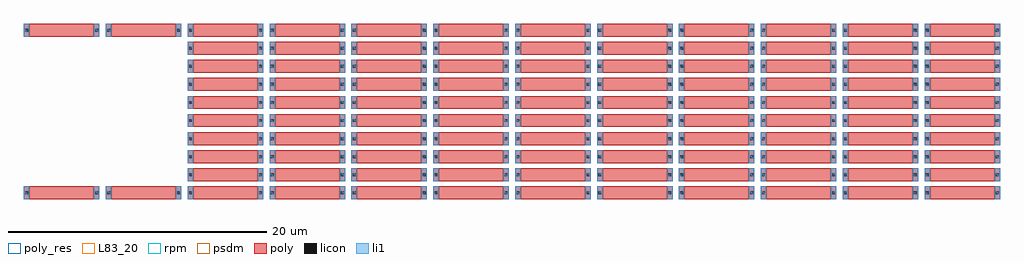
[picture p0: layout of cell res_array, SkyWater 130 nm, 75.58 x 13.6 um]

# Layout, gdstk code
import gdstk
lib = gdstk.Library(unit=1e-6, precision=1e-09)
def R(c, l, rs):  # rectangles x0, y0, x1, y1
    for r in rs: c.add(gdstk.rectangle(r[:2], r[2:], *l))
def A(c, l, x, y, w, h, nx, ny, dx, dy):  # array of equal rectangles
    R(c, l, [(x+i*dx, y+j*dy, x+i*dx+w, y+j*dy+h) for i in range(nx) for j in range(ny)])
poly_res = (66, 13)
poly = (66, 20)
licon = (66, 44)
li1 = (67, 20)
L83_20 = (83, 20)
rpm = (86, 20)
psdm = (94, 20)

res_array = lib.new_cell('res_array')
A(res_array, poly_res, -12.26, 0, 5, 1, 12, 2, 6.34, 12.6)
A(res_array, poly_res, 0.42, 1.4, 5, 1, 10, 8, 6.34, 1.4)
A(res_array, poly, -12.68, 0, 5.84, 1, 12, 2, 6.34, 12.6)
A(res_array, poly, 0, 1.4, 5.84, 1, 10, 8, 6.34, 1.4)
A(res_array, licon, 0.1, 0.39, 0.22, 0.22, 1, 10, 0, 1.4)
A(res_array, licon, 5.52, 0.39, 0.22, 0.22, 1, 10, 0, 1.4)
A(res_array, licon, 6.44, 0.39, 0.22, 0.22, 1, 10, 0, 1.4)
A(res_array, licon, 11.86, 0.39, 0.22, 0.22, 1, 10, 0, 1.4)
A(res_array, licon, 12.78, 0.39, 0.22, 0.22, 1, 10, 0, 1.4)
A(res_array, licon, 18.2, 0.39, 0.22, 0.22, 1, 10, 0, 1.4)
A(res_array, licon, 19.12, 0.39, 0.22, 0.22, 1, 10, 0, 1.4)
A(res_array, licon, 24.54, 0.39, 0.22, 0.22, 1, 10, 0, 1.4)
A(res_array, licon, 25.46, 0.39, 0.22, 0.22, 1, 10, 0, 1.4)
A(res_array, licon, 30.88, 0.39, 0.22, 0.22, 1, 10, 0, 1.4)
A(res_array, licon, 31.8, 0.39, 0.22, 0.22, 1, 10, 0, 1.4)
A(res_array, licon, 37.22, 0.39, 0.22, 0.22, 1, 10, 0, 1.4)
A(res_array, licon, 38.14, 0.39, 0.22, 0.22, 1, 10, 0, 1.4)
A(res_array, licon, 43.56, 0.39, 0.22, 0.22, 1, 10, 0, 1.4)
A(res_array, licon, 44.48, 0.39, 0.22, 0.22, 1, 10, 0, 1.4)
A(res_array, licon, 49.9, 0.39, 0.22, 0.22, 1, 10, 0, 1.4)
A(res_array, licon, 50.82, 0.39, 0.22, 0.22, 1, 10, 0, 1.4)
A(res_array, licon, 56.24, 0.39, 0.22, 0.22, 1, 10, 0, 1.4)
A(res_array, licon, 57.16, 0.39, 0.22, 0.22, 1, 10, 0, 1.4)
A(res_array, licon, 62.58, 0.39, 0.22, 0.22, 1, 10, 0, 1.4)
R(res_array, licon, [(-12.58,0.39,-12.36,0.61), (-7.16,0.39,-6.94,0.61), (-6.24,0.39,-6.02,0.61), (-0.82,0.39,-0.6,0.61), (-12.58,12.99,-12.36,13.21), (-7.16,12.99,-6.94,13.21), (-6.24,12.99,-6.02,13.21), (-0.82,12.99,-0.6,13.21)])
A(res_array, li1, 0, 0, 0.42, 1, 1, 10, 0, 1.4)
A(res_array, li1, 5.42, 0, 0.42, 1, 1, 10, 0, 1.4)
A(res_array, li1, 6.34, 0, 0.42, 1, 1, 10, 0, 1.4)
A(res_array, li1, 11.76, 0, 0.42, 1, 1, 10, 0, 1.4)
A(res_array, li1, 12.68, 0, 0.42, 1, 1, 10, 0, 1.4)
A(res_array, li1, 18.1, 0, 0.42, 1, 1, 10, 0, 1.4)
A(res_array, li1, 19.02, 0, 0.42, 1, 1, 10, 0, 1.4)
A(res_array, li1, 24.44, 0, 0.42, 1, 1, 10, 0, 1.4)
A(res_array, li1, 25.36, 0, 0.42, 1, 1, 10, 0, 1.4)
A(res_array, li1, 30.78, 0, 0.42, 1, 1, 10, 0, 1.4)
A(res_array, li1, 31.7, 0, 0.42, 1, 1, 10, 0, 1.4)
A(res_array, li1, 37.12, 0, 0.42, 1, 1, 10, 0, 1.4)
A(res_array, li1, 38.04, 0, 0.42, 1, 1, 10, 0, 1.4)
A(res_array, li1, 43.46, 0, 0.42, 1, 1, 10, 0, 1.4)
A(res_array, li1, 44.38, 0, 0.42, 1, 1, 10, 0, 1.4)
A(res_array, li1, 49.8, 0, 0.42, 1, 1, 10, 0, 1.4)
A(res_array, li1, 50.72, 0, 0.42, 1, 1, 10, 0, 1.4)
A(res_array, li1, 56.14, 0, 0.42, 1, 1, 10, 0, 1.4)
A(res_array, li1, 57.06, 0, 0.42, 1, 1, 10, 0, 1.4)
A(res_array, li1, 62.48, 0, 0.42, 1, 1, 10, 0, 1.4)
R(res_array, li1, [(-12.68,0,-12.26,1), (-7.26,0,-6.84,1), (-6.34,0,-5.92,1), (-0.92,0,-0.5,1), (-12.68,12.6,-12.26,13.6), (-7.26,12.6,-6.84,13.6), (-6.34,12.6,-5.92,13.6), (-0.92,12.6,-0.5,13.6)])
R(res_array, L83_20, [(-12.26,0,-7.26,1), (-5.92,0,-0.92,1), (-12.26,12.6,-7.26,13.6), (-5.92,12.6,-0.92,13.6)])
A(res_array, rpm, -12.26, 0, 5, 1, 12, 2, 6.34, 12.6)
A(res_array, rpm, 0.42, 1.4, 5, 1, 10, 8, 6.34, 1.4)
A(res_array, psdm, -12.26, 0, 5, 1, 12, 2, 6.34, 12.6)
A(res_array, psdm, 0.42, 1.4, 5, 1, 10, 8, 6.34, 1.4)

lib.write_gds('res_array.gds')
